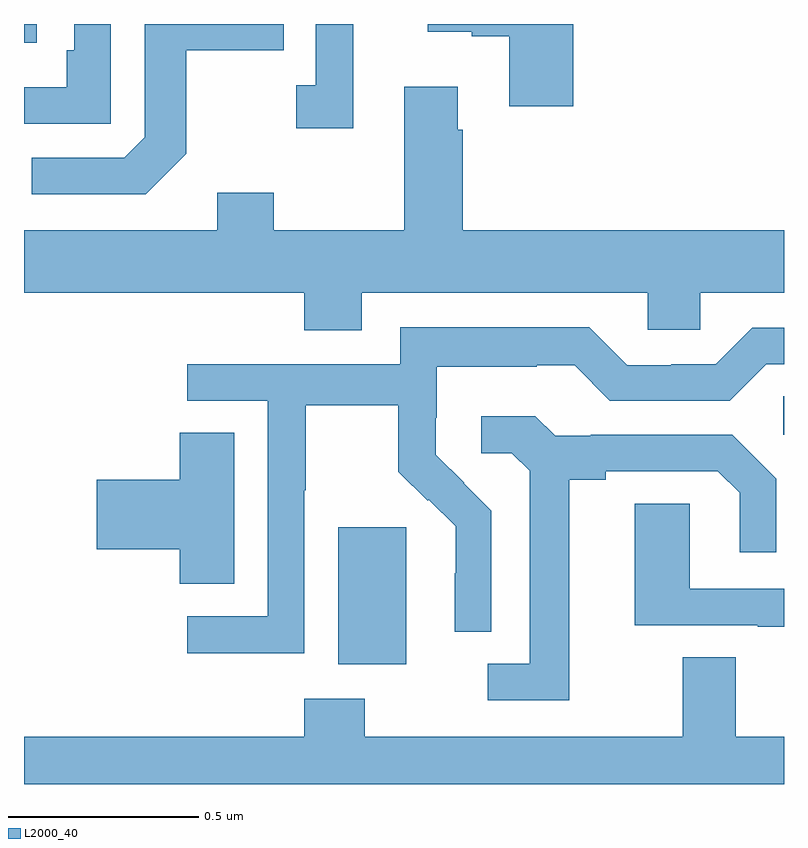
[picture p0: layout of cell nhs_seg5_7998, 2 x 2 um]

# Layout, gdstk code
import gdstk
lib = gdstk.Library(unit=1e-6, precision=1e-09)
def R(c, l, rs):  # rectangles x0, y0, x1, y1
    for r in rs: c.add(gdstk.rectangle(r[:2], r[2:], *l))
def P(c, l, *ps):  # polygons
    for p in ps: c.add(gdstk.Polygon(p, *l))
L2000_40 = (2000, 40)

nhs_seg5_7998 = lib.new_cell('nhs_seg5_7998')
R(nhs_seg5_7998, L2000_40, [(216.827,857.114,217.006,857.475), (217.998,857.718,218,857.819), (216,858.75,216.034,858.799)])
P(nhs_seg5_7998, L2000_40, [(216.228,858.799),(216.132,858.799),(216.132,858.73),(216.112,858.73),(216.112,858.633),(216,858.633),(216,858.537),(216.228,858.537)],
  [(216.427,858.457),(216.427,858.73),(216.683,858.73),(216.683,858.799),(216.318,858.799),(216.318,858.501),(216.264,858.447),(216.021,858.447),(216.021,858.351),(216.321,858.351)],
  [(216.866,858.799),(216.768,858.799),(216.768,858.638),(216.717,858.638),(216.717,858.525),(216.866,858.525)],
  [(217.445,858.799),(217.062,858.799),(217.062,858.779),(217.178,858.779),(217.178,858.767),(217.277,858.767),(217.277,858.582),(217.445,858.582)],
  [(216.889,858.092),(217.641,858.092),(217.641,857.994),(217.779,857.994),(217.779,858.092),(218,858.092),(218,858.256),(217.154,858.256),(217.154,858.521),(217.141,858.521),(217.141,858.634),(217.001,858.634),(217.001,858.256),(216.657,858.256),(216.657,858.355),(216.509,858.355),(216.509,858.256),(216,858.256),(216,858.092),(216.737,858.092),(216.737,857.993),(216.889,857.993)],
  [(216.738,857.572),(216.741,857.572),(216.741,857.796),(216.985,857.796),(216.985,857.621),(217.062,857.544),(217.065,857.547),(217.136,857.477),(217.136,857.354),(217.134,857.354),(217.134,857.2),(217.23,857.2),(217.23,857.518),(217.157,857.591),(217.158,857.592),(217.084,857.666),(217.084,857.763),(217.086,857.763),(217.086,857.897),(217.349,857.897),(217.349,857.901),(217.449,857.901),(217.542,857.808),(217.857,857.808),(217.953,857.904),(218,857.904),(218,858),(217.917,858),(217.821,857.904),(217.703,857.904),(217.703,857.901),(217.587,857.901),(217.487,858.001),(216.99,858.001),(216.99,857.904),(216.429,857.904),(216.429,857.808),(216.642,857.808),(216.642,857.241),(216.429,857.241),(216.429,857.143),(216.738,857.143)],
  [(217.435,857.6),(217.531,857.6),(217.531,857.622),(217.826,857.622),(217.883,857.565),(217.883,857.409),(217.98,857.409),(217.98,857.602),(217.864,857.718),(217.492,857.718),(217.492,857.715),(217.398,857.715),(217.346,857.767),(217.203,857.767),(217.203,857.67),(217.284,857.67),(217.331,857.623),(217.331,857.115),(217.221,857.115),(217.221,857.019),(217.435,857.019)],
  [(216.553,857.723),(216.41,857.723),(216.41,857.6),(216.192,857.6),(216.192,857.417),(216.41,857.417),(216.41,857.326),(216.553,857.326)],
  [(218,857.313),(217.752,857.313),(217.752,857.537),(217.607,857.537),(217.607,857.217),(217.931,857.217),(217.931,857.213),(218,857.213)],
  [(218,856.924),(217.873,856.924),(217.873,857.132),(217.733,857.132),(217.733,856.924),(216.897,856.924),(216.897,857.023),(216.737,857.023),(216.737,856.924),(216,856.924),(216,856.799),(218,856.799)])

lib.write_gds('nhs_seg5_7998.gds')
